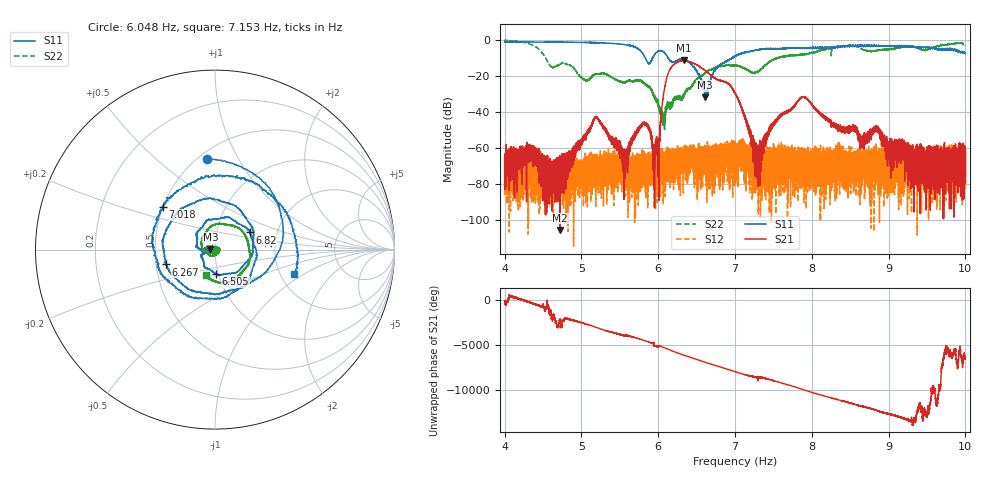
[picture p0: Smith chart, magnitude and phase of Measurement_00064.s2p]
!Created with skrf (http://scikit-rf.org).
# Hz S RI R 50.0
!freq ReS11 ImS11 ReS21 ImS21 ReS12 ImS12 ReS22 ImS22
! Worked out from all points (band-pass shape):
!   14001 points, 4 Hz to 10 Hz, reference 50 ohm
!   highest |S21| = -11.18 dB at 6.338 Hz (marker M1); lowest = -105.6 dB at 4.724 Hz (marker M2)
!   |S21| within 3 dB of the highest: 6.188686 Hz to 6.18875 Hz (64.7 uHz wide, 0.00105 % of centre); 6.19 Hz to 6.521 Hz (330.8 mHz wide, 5.21 % of centre)
!   lowest |S11| = -31.8 dB at 6.608 Hz (marker M3), VSWR 1.05, Z = 47.5 + j0.327 ohm
!   |S11| at or under -10 dB: 5.832 Hz to 5.928 Hz (95.39 mHz wide, 1.62 % of centre); 6.129706 Hz to 6.131182 Hz (1.476 mHz wide, 0.0241 % of centre); 6.131 Hz to 6.956 Hz (824.3 mHz wide, 12.6 % of centre)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
!   |S22| runs from -49.7 to -0.2 dB; largest |S21 - S12| = 0.28
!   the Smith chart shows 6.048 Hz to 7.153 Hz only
!   S11 on the Smith chart (normalised r, x): 6.048 Hz: 0.56, +0.75; 6.267 Hz: 0.57, -0.10; 6.505 Hz: 0.97, -0.27; 6.82 Hz: 1.45, +0.29; 7.018 Hz: 0.50, +0.28; 7.153 Hz: 2.39, -0.82
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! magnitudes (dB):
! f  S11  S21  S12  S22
! 4 Hz  -1.1  -68.7  -86.3  -0.2
! 4.724 Hz  -1.2  -105.6  -79.1  -13.4
! 5 Hz  -1.3  -56.4  -75.7  -20.7
! 5.193 Hz  -1.5  -43.0  -80.0  -18.7
! 5.562 Hz  -2.5  -64.8  -70.0  -23.5
! 5.808 Hz  -8.0  -46.2  -69.0  -23.9
! 6 Hz  -6.2  -64.4  -63.3  -35.6
! 6.048 Hz  -5.9  -37.4  -61.0  -42.0
! 6.129 Hz  -9.9  -18.6  -63.2  -36.0
! 6.267 Hz  -10.9  -11.9  -65.9  -32.1
! 6.338 Hz  -10.8  -11.2  -65.0  -30.6
! 6.505 Hz  -17.4  -13.8  -64.6  -21.7
! 6.608 Hz  -31.8  -16.8  -65.7  -18.4
! 6.82 Hz  -13.3  -22.6  -69.0  -14.6
! 7 Hz  -9.0  -29.5  -59.3  -14.0
! 7.018 Hz  -8.5  -30.9  -60.1  -14.0
! 7.153 Hz  -6.7  -45.1  -60.1  -16.5
! 7.302 Hz  -5.4  -72.0  -63.0  -17.3
! 7.585 Hz  -5.0  -43.0  -63.8  -9.5
! 8 Hz  -4.5  -35.5  -75.6  -6.9
! 9 Hz  -3.4  -60.7  -66.6  -5.1
! 10 Hz  -7.4  -61.4  -81.0  -3.1
